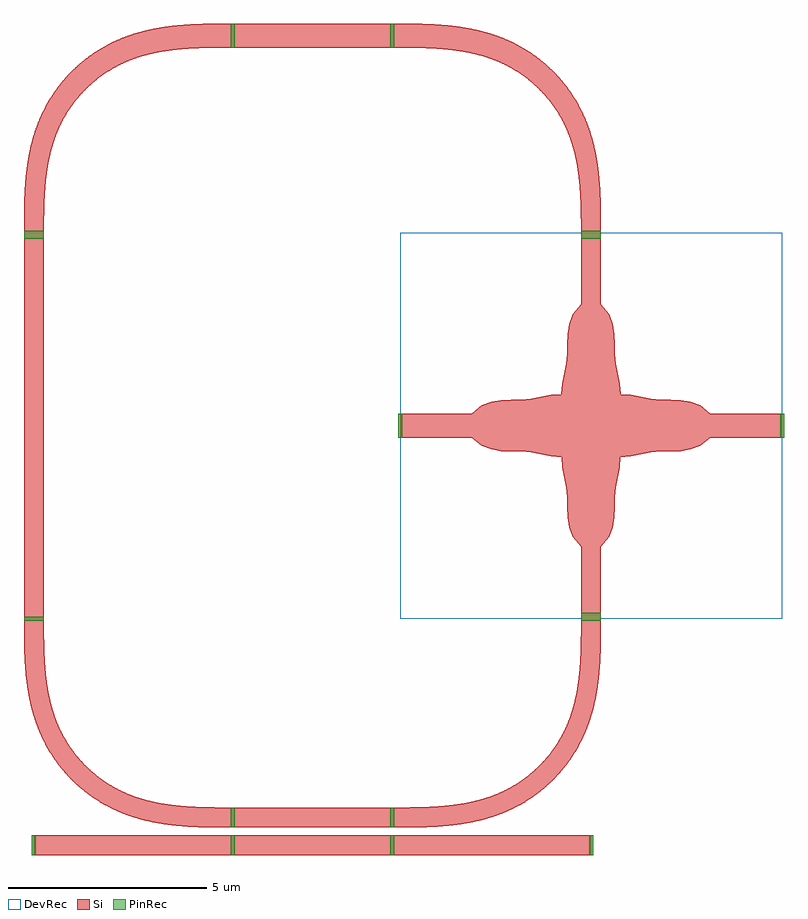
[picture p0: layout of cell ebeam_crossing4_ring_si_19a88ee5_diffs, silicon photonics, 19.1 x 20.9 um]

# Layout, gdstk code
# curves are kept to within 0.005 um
import gdstk
lib = gdstk.Library(unit=1e-6, precision=1e-09)
def R(c, l, rs):  # rectangles x0, y0, x1, y1
    for r in rs: c.add(gdstk.rectangle(r[:2], r[2:], *l))
def P(c, l, *ps):  # polygons
    for p in ps: c.add(gdstk.Polygon(p, *l))
Si = (1, 0)
PinRec = (1, 10)
DevRec = (68, 0)

ebeam_crossing4_ring_si_ = lib.new_cell('ebeam_crossing4_ring_si_19a88ee5_old')
R(ebeam_crossing4_ring_si_, Si, [(-9,-0.25,-4,0.25), (-4,-0.25,0,0.25), (0,-0.25,5,0.25), (-4,0.45,0,0.95), (-9.25,5.7,-8.75,15.4), (-4,20.15,0,20.65)])
P(ebeam_crossing4_ring_si_, Si, [(-4.023,0.45),(-4.587,0.453),(-5.086,0.471),(-5.494,0.505),(-5.926,0.568),(-6.286,0.648),(-6.57,0.732),(-6.826,0.828),(-7.131,0.971),(-5.057,0.971),(-4.578,0.953),(-4,0.95),(-4,0.45)],
  [(-7.145,0.978),(-7.406,1.129),(-7.714,1.347),(-7.888,1.492),(-8.017,1.612),(-8.241,1.85),(-7.538,1.85),(-7.318,1.674),(-7.045,1.494),(-6.755,1.342),(-6.452,1.22),(-6.095,1.115),(-5.77,1.048),(-5.439,1.002),(-5.057,0.971),(-7.131,0.971)],
  [(-8.257,1.869),(-8.429,2.086),(-8.571,2.294),(-8.662,2.445),(-8.801,2.713),(-8.891,2.92),(-8.976,3.154),(-9.046,3.391),(-9.108,3.654),(-8.596,3.654),(-8.527,3.393),(-8.45,3.166),(-8.358,2.945),(-8.206,2.655),(-8.064,2.435),(-7.891,2.21),(-7.73,2.032),(-7.538,1.85),(-8.241,1.85)],
  [(-9.113,3.678),(-9.171,4.014),(-9.205,4.302),(-9.226,4.566),(-9.245,5.018),(-9.25,5.7),(-8.75,5.7),(-8.744,4.984),(-8.719,4.485),(-8.666,4.018),(-8.596,3.654),(-9.108,3.654)],
  [(0.023,0.45),(0.587,0.453),(1.086,0.471),(1.494,0.505),(1.926,0.568),(2.286,0.648),(2.57,0.732),(2.826,0.828),(3.131,0.971),(1.057,0.971),(0.578,0.953),(0,0.95),(0,0.45)],
  [(3.145,0.978),(3.406,1.129),(3.714,1.347),(3.888,1.492),(4.017,1.612),(4.241,1.85),(3.538,1.85),(3.318,1.674),(3.045,1.494),(2.755,1.342),(2.452,1.22),(2.095,1.115),(1.77,1.048),(1.439,1.002),(1.057,0.971),(3.131,0.971)],
  [(4.257,1.869),(4.429,2.086),(4.571,2.294),(4.662,2.445),(4.801,2.713),(4.891,2.92),(4.976,3.154),(5.046,3.391),(5.108,3.654),(4.596,3.654),(4.527,3.393),(4.45,3.166),(4.358,2.945),(4.206,2.655),(4.064,2.435),(3.891,2.21),(3.73,2.032),(3.538,1.85),(4.241,1.85)],
  [(5.113,3.678),(5.171,4.014),(5.205,4.302),(5.226,4.566),(5.245,5.018),(5.25,5.7),(4.75,5.7),(4.744,4.984),(4.719,4.485),(4.666,4.018),(4.596,3.654),(5.108,3.654)],
  [(5.25,15.423),(5.247,15.987),(5.229,16.486),(5.195,16.894),(5.132,17.326),(5.052,17.686),(4.968,17.97),(4.872,18.226),(4.729,18.531),(4.729,16.457),(4.747,15.978),(4.75,15.4),(5.25,15.4)],
  [(4.722,18.545),(4.571,18.806),(4.353,19.114),(4.208,19.288),(4.088,19.417),(3.85,19.641),(3.85,18.938),(4.026,18.718),(4.206,18.445),(4.358,18.155),(4.48,17.852),(4.585,17.495),(4.652,17.17),(4.698,16.839),(4.729,16.457),(4.729,18.531)],
  [(3.831,19.657),(3.614,19.829),(3.406,19.971),(3.255,20.062),(2.987,20.201),(2.78,20.291),(2.546,20.376),(2.309,20.446),(2.046,20.508),(2.046,19.996),(2.307,19.927),(2.534,19.85),(2.755,19.758),(3.045,19.606),(3.265,19.464),(3.49,19.291),(3.668,19.13),(3.85,18.938),(3.85,19.641)],
  [(2.022,20.513),(1.686,20.571),(1.398,20.605),(1.134,20.626),(0.682,20.645),(0,20.65),(0,20.15),(0.716,20.144),(1.215,20.119),(1.682,20.066),(2.046,19.996),(2.046,20.508)],
  [(-4.023,20.65),(-4.587,20.647),(-5.086,20.629),(-5.494,20.595),(-5.926,20.532),(-6.286,20.452),(-6.57,20.368),(-6.826,20.272),(-7.131,20.129),(-5.057,20.129),(-4.578,20.147),(-4,20.15),(-4,20.65)],
  [(-7.145,20.122),(-7.406,19.971),(-7.714,19.753),(-7.888,19.608),(-8.017,19.488),(-8.241,19.25),(-7.538,19.25),(-7.318,19.426),(-7.045,19.606),(-6.755,19.758),(-6.452,19.88),(-6.095,19.985),(-5.77,20.052),(-5.439,20.098),(-5.057,20.129),(-7.131,20.129)],
  [(-8.257,19.231),(-8.429,19.014),(-8.571,18.806),(-8.662,18.655),(-8.801,18.387),(-8.891,18.18),(-8.976,17.946),(-9.046,17.709),(-9.108,17.446),(-8.596,17.446),(-8.527,17.707),(-8.45,17.934),(-8.358,18.155),(-8.206,18.445),(-8.064,18.665),(-7.891,18.89),(-7.73,19.068),(-7.538,19.25),(-8.241,19.25)],
  [(-9.113,17.422),(-9.171,17.086),(-9.205,16.798),(-9.226,16.534),(-9.245,16.082),(-9.25,15.4),(-8.75,15.4),(-8.744,16.116),(-8.719,16.615),(-8.666,17.082),(-8.596,17.446),(-9.108,17.446)],
  [(9.8,10.35),(8,10.35),(7.75,10.14),(7.5,10.05),(7.25,10.01),(6.75,10),(6.5,9.98),(6,9.88),(5.74,9.85),(5.72,9.6),(5.62,9.1),(5.6,8.85),(5.59,8.35),(5.55,8.1),(5.46,7.85),(5.25,7.6),(5.25,5.8),(4.75,5.8),(4.75,7.6),(4.54,7.85),(4.45,8.1),(4.41,8.35),(4.4,8.85),(4.38,9.1),(4.28,9.6),(4.26,9.85),(4,9.88),(3.5,9.98),(3.25,10),(2.75,10.01),(2.5,10.05),(2.25,10.14),(2,10.35),(0.2,10.35),(0.2,10.85),(2,10.85),(2.25,11.06),(2.5,11.15),(2.75,11.19),(3.25,11.2),(3.5,11.22),(4,11.32),(4.25,11.34),(4.28,11.6),(4.38,12.1),(4.4,12.35),(4.41,12.85),(4.45,13.1),(4.54,13.35),(4.75,13.6),(4.75,15.4),(5.25,15.4),(5.25,13.6),(5.46,13.35),(5.55,13.1),(5.59,12.85),(5.6,12.35),(5.62,12.1),(5.72,11.6),(5.75,11.34),(6,11.32),(6.5,11.22),(6.75,11.2),(7.25,11.19),(7.5,11.15),(7.75,11.06),(8,10.85),(9.8,10.85)])
R(ebeam_crossing4_ring_si_, DevRec, [(-9,-0.25,-4,0.25), (-4,-0.25,0,0.25), (0,-0.25,5,0.25), (-4,0.45,0,0.95), (-9.25,5.7,-8.75,15.4), (0.2,5.8,9.8,15.4), (-4,20.15,0,20.65)])
P(ebeam_crossing4_ring_si_, DevRec, [(-4.023,0.45),(-4.587,0.453),(-5.086,0.471),(-5.494,0.505),(-5.926,0.568),(-6.286,0.648),(-6.57,0.732),(-6.826,0.828),(-7.131,0.971),(-5.057,0.971),(-4.578,0.953),(-4,0.95),(-4,0.45)],
  [(-7.145,0.978),(-7.406,1.129),(-7.714,1.347),(-7.888,1.492),(-8.017,1.612),(-8.241,1.85),(-7.538,1.85),(-7.318,1.674),(-7.045,1.494),(-6.755,1.342),(-6.452,1.22),(-6.095,1.115),(-5.77,1.048),(-5.439,1.002),(-5.057,0.971),(-7.131,0.971)],
  [(-8.257,1.869),(-8.429,2.086),(-8.571,2.294),(-8.662,2.445),(-8.801,2.713),(-8.891,2.92),(-8.976,3.154),(-9.046,3.391),(-9.108,3.654),(-8.596,3.654),(-8.527,3.393),(-8.45,3.166),(-8.358,2.945),(-8.206,2.655),(-8.064,2.435),(-7.891,2.21),(-7.73,2.032),(-7.538,1.85),(-8.241,1.85)],
  [(-9.113,3.678),(-9.171,4.014),(-9.205,4.302),(-9.226,4.566),(-9.245,5.018),(-9.25,5.7),(-8.75,5.7),(-8.744,4.984),(-8.719,4.485),(-8.666,4.018),(-8.596,3.654),(-9.108,3.654)],
  [(0.023,0.45),(0.587,0.453),(1.086,0.471),(1.494,0.505),(1.926,0.568),(2.286,0.648),(2.57,0.732),(2.826,0.828),(3.131,0.971),(1.057,0.971),(0.578,0.953),(0,0.95),(0,0.45)],
  [(3.145,0.978),(3.406,1.129),(3.714,1.347),(3.888,1.492),(4.017,1.612),(4.241,1.85),(3.538,1.85),(3.318,1.674),(3.045,1.494),(2.755,1.342),(2.452,1.22),(2.095,1.115),(1.77,1.048),(1.439,1.002),(1.057,0.971),(3.131,0.971)],
  [(4.257,1.869),(4.429,2.086),(4.571,2.294),(4.662,2.445),(4.801,2.713),(4.891,2.92),(4.976,3.154),(5.046,3.391),(5.108,3.654),(4.596,3.654),(4.527,3.393),(4.45,3.166),(4.358,2.945),(4.206,2.655),(4.064,2.435),(3.891,2.21),(3.73,2.032),(3.538,1.85),(4.241,1.85)],
  [(5.113,3.678),(5.171,4.014),(5.205,4.302),(5.226,4.566),(5.245,5.018),(5.25,5.7),(4.75,5.7),(4.744,4.984),(4.719,4.485),(4.666,4.018),(4.596,3.654),(5.108,3.654)],
  [(5.25,15.423),(5.247,15.987),(5.229,16.486),(5.195,16.894),(5.132,17.326),(5.052,17.686),(4.968,17.97),(4.872,18.226),(4.729,18.531),(4.729,16.457),(4.747,15.978),(4.75,15.4),(5.25,15.4)],
  [(4.722,18.545),(4.571,18.806),(4.353,19.114),(4.208,19.288),(4.088,19.417),(3.85,19.641),(3.85,18.938),(4.026,18.718),(4.206,18.445),(4.358,18.155),(4.48,17.852),(4.585,17.495),(4.652,17.17),(4.698,16.839),(4.729,16.457),(4.729,18.531)],
  [(3.831,19.657),(3.614,19.829),(3.406,19.971),(3.255,20.062),(2.987,20.201),(2.78,20.291),(2.546,20.376),(2.309,20.446),(2.046,20.508),(2.046,19.996),(2.307,19.927),(2.534,19.85),(2.755,19.758),(3.045,19.606),(3.265,19.464),(3.49,19.291),(3.668,19.13),(3.85,18.938),(3.85,19.641)],
  [(2.022,20.513),(1.686,20.571),(1.398,20.605),(1.134,20.626),(0.682,20.645),(0,20.65),(0,20.15),(0.716,20.144),(1.215,20.119),(1.682,20.066),(2.046,19.996),(2.046,20.508)],
  [(-4.023,20.65),(-4.587,20.647),(-5.086,20.629),(-5.494,20.595),(-5.926,20.532),(-6.286,20.452),(-6.57,20.368),(-6.826,20.272),(-7.131,20.129),(-5.057,20.129),(-4.578,20.147),(-4,20.15),(-4,20.65)],
  [(-7.145,20.122),(-7.406,19.971),(-7.714,19.753),(-7.888,19.608),(-8.017,19.488),(-8.241,19.25),(-7.538,19.25),(-7.318,19.426),(-7.045,19.606),(-6.755,19.758),(-6.452,19.88),(-6.095,19.985),(-5.77,20.052),(-5.439,20.098),(-5.057,20.129),(-7.131,20.129)],
  [(-8.257,19.231),(-8.429,19.014),(-8.571,18.806),(-8.662,18.655),(-8.801,18.387),(-8.891,18.18),(-8.976,17.946),(-9.046,17.709),(-9.108,17.446),(-8.596,17.446),(-8.527,17.707),(-8.45,17.934),(-8.358,18.155),(-8.206,18.445),(-8.064,18.665),(-7.891,18.89),(-7.73,19.068),(-7.538,19.25),(-8.241,19.25)],
  [(-9.113,17.422),(-9.171,17.086),(-9.205,16.798),(-9.226,16.534),(-9.245,16.082),(-9.25,15.4),(-8.75,15.4),(-8.744,16.116),(-8.719,16.615),(-8.666,17.082),(-8.596,17.446),(-9.108,17.446)])
ebeam_crossing4_ring_si_.add(gdstk.FlexPath([(-4.05,0.7),(-3.95,0.7)], 0.5, ends="flush", simple_path=True, layer=1, datatype=10))  # PinRec
ebeam_crossing4_ring_si_.add(gdstk.FlexPath([(-9,5.65),(-9,5.75)], 0.5, ends="flush", simple_path=True, layer=1, datatype=10))  # PinRec
ebeam_crossing4_ring_si_.add(gdstk.FlexPath([(-4.05,0),(-3.95,0)], 0.5, ends="flush", simple_path=True, layer=1, datatype=10))  # PinRec
ebeam_crossing4_ring_si_.add(gdstk.FlexPath([(-8.95,0),(-9.05,0)], 0.5, ends="flush", simple_path=True, layer=1, datatype=10))  # PinRec
ebeam_crossing4_ring_si_.add(gdstk.FlexPath([(0.05,0.7),(-0.05,0.7)], 0.5, ends="flush", simple_path=True, layer=1, datatype=10))  # PinRec
ebeam_crossing4_ring_si_.add(gdstk.FlexPath([(5,5.65),(5,5.75)], 0.5, ends="flush", simple_path=True, layer=1, datatype=10))  # PinRec
ebeam_crossing4_ring_si_.add(gdstk.FlexPath([(0.05,0),(-0.05,0)], 0.5, ends="flush", simple_path=True, layer=1, datatype=10))  # PinRec
ebeam_crossing4_ring_si_.add(gdstk.FlexPath([(4.95,0),(5.05,0)], 0.5, ends="flush", simple_path=True, layer=1, datatype=10))  # PinRec
ebeam_crossing4_ring_si_.add(gdstk.FlexPath([(-3.95,0.7),(-4.05,0.7)], 0.5, ends="flush", simple_path=True, layer=1, datatype=10))  # PinRec
ebeam_crossing4_ring_si_.add(gdstk.FlexPath([(-0.05,0.7),(0.05,0.7)], 0.5, ends="flush", simple_path=True, layer=1, datatype=10))  # PinRec
ebeam_crossing4_ring_si_.add(gdstk.FlexPath([(-3.95,0),(-4.05,0)], 0.5, ends="flush", simple_path=True, layer=1, datatype=10))  # PinRec
ebeam_crossing4_ring_si_.add(gdstk.FlexPath([(-0.05,0),(0.05,0)], 0.5, ends="flush", simple_path=True, layer=1, datatype=10))  # PinRec
ebeam_crossing4_ring_si_.add(gdstk.FlexPath([(-3.95,20.4),(-4.05,20.4)], 0.5, ends="flush", simple_path=True, layer=1, datatype=10))  # PinRec
ebeam_crossing4_ring_si_.add(gdstk.FlexPath([(-0.05,20.4),(0.05,20.4)], 0.5, ends="flush", simple_path=True, layer=1, datatype=10))  # PinRec
ebeam_crossing4_ring_si_.add(gdstk.FlexPath([(5,15.45),(5,15.35)], 0.5, ends="flush", simple_path=True, layer=1, datatype=10))  # PinRec
ebeam_crossing4_ring_si_.add(gdstk.FlexPath([(0.05,20.4),(-0.05,20.4)], 0.5, ends="flush", simple_path=True, layer=1, datatype=10))  # PinRec
ebeam_crossing4_ring_si_.add(gdstk.FlexPath([(-4.05,20.4),(-3.95,20.4)], 0.5, ends="flush", simple_path=True, layer=1, datatype=10))  # PinRec
ebeam_crossing4_ring_si_.add(gdstk.FlexPath([(-9,15.45),(-9,15.35)], 0.5, ends="flush", simple_path=True, layer=1, datatype=10))  # PinRec
ebeam_crossing4_ring_si_.add(gdstk.FlexPath([(5,5.85),(5,5.75)], 0.5, ends="flush", simple_path=True, layer=1, datatype=10))  # PinRec
ebeam_crossing4_ring_si_.add(gdstk.FlexPath([(5,15.35),(5,15.45)], 0.5, ends="flush", simple_path=True, layer=1, datatype=10))  # PinRec
ebeam_crossing4_ring_si_.add(gdstk.FlexPath([(9.75,10.6),(9.85,10.6)], 0.5, ends="flush", simple_path=True, layer=1, datatype=10))  # PinRec
ebeam_crossing4_ring_si_.add(gdstk.FlexPath([(0.25,10.6),(0.15,10.6)], 0.5, ends="flush", simple_path=True, layer=1, datatype=10))  # PinRec
ebeam_crossing4_ring_si_.add(gdstk.FlexPath([(-9,15.35),(-9,15.45)], 0.5, ends="flush", simple_path=True, layer=1, datatype=10))  # PinRec
ebeam_crossing4_ring_si_.add(gdstk.FlexPath([(-9,5.75),(-9,5.65)], 0.5, ends="flush", simple_path=True, layer=1, datatype=10))  # PinRec
ebeam_crossing4_ring_si_.add(gdstk.Label('o1', (-4,0.7), layer=1, texttype=10))
ebeam_crossing4_ring_si_.add(gdstk.Label('o2', (-9,5.7), layer=1, texttype=10))
ebeam_crossing4_ring_si_.add(gdstk.Label('o1', (-4,0), layer=1, texttype=10))
ebeam_crossing4_ring_si_.add(gdstk.Label('o2', (-9,0), layer=1, texttype=10))
ebeam_crossing4_ring_si_.add(gdstk.Label('o1', (0,0.7), layer=1, texttype=10))
ebeam_crossing4_ring_si_.add(gdstk.Label('o2', (5,5.7), layer=1, texttype=10))
ebeam_crossing4_ring_si_.add(gdstk.Label('o1', (0,0), layer=1, texttype=10))
ebeam_crossing4_ring_si_.add(gdstk.Label('o2', (5,0), layer=1, texttype=10))
ebeam_crossing4_ring_si_.add(gdstk.Label('o1', (-4,0.7), layer=1, texttype=10))
ebeam_crossing4_ring_si_.add(gdstk.Label('o2', (0,0.7), layer=1, texttype=10))
ebeam_crossing4_ring_si_.add(gdstk.Label('o1', (-4,0), layer=1, texttype=10))
ebeam_crossing4_ring_si_.add(gdstk.Label('o2', (0,0), layer=1, texttype=10))
ebeam_crossing4_ring_si_.add(gdstk.Label('o1', (-4,20.4), layer=1, texttype=10))
ebeam_crossing4_ring_si_.add(gdstk.Label('o2', (0,20.4), layer=1, texttype=10))
ebeam_crossing4_ring_si_.add(gdstk.Label('o1', (5,15.4), layer=1, texttype=10))
ebeam_crossing4_ring_si_.add(gdstk.Label('o2', (0,20.4), layer=1, texttype=10))
ebeam_crossing4_ring_si_.add(gdstk.Label('o1', (-4,20.4), layer=1, texttype=10))
ebeam_crossing4_ring_si_.add(gdstk.Label('o2', (-9,15.4), layer=1, texttype=10))
ebeam_crossing4_ring_si_.add(gdstk.Label('Source: Wei Shi', (8,6.6), layer=10, texttype=0))
ebeam_crossing4_ring_si_.add(gdstk.Label('opt4', (5,15.4), layer=1, texttype=10))
ebeam_crossing4_ring_si_.add(gdstk.Label('opt2', (0.2,10.6), layer=1, texttype=10))
ebeam_crossing4_ring_si_.add(gdstk.Label('opt', (5,5.8), layer=1, texttype=10))
ebeam_crossing4_ring_si_.add(gdstk.Label('opt3', (9.8,10.6), layer=1, texttype=10))
ebeam_crossing4_ring_si_.add(gdstk.Label('Component=ebeam_crossing4', (6,6.6), layer=68, texttype=0))
ebeam_crossing4_ring_si_.add(gdstk.Label('Lumerical_INTERCONNECT_library=Design kits/ebeam', (9,6.6), layer=68, texttype=0))
ebeam_crossing4_ring_si_.add(gdstk.Label('o1', (-9,15.4), layer=1, texttype=10))
ebeam_crossing4_ring_si_.add(gdstk.Label('o2', (-9,5.7), layer=1, texttype=10))

c_ebeam_crossing4_ring_si_ = lib.new_cell('ebeam_crossing4_ring_si_19a88ee5_new')
R(c_ebeam_crossing4_ring_si_, Si, [(-9,-0.25,-4,0.25), (-4,-0.25,0,0.25), (0,-0.25,5,0.25), (-4,0.45,0,0.95), (-9.25,5.7,-8.75,15.3), (-4,20.05,0,20.55)])
P(c_ebeam_crossing4_ring_si_, Si, [(-4.023,0.45),(-4.587,0.453),(-5.086,0.471),(-5.494,0.505),(-5.926,0.568),(-6.286,0.648),(-6.57,0.732),(-6.826,0.828),(-7.131,0.971),(-5.057,0.971),(-4.578,0.953),(-4,0.95),(-4,0.45)],
  [(-7.145,0.978),(-7.406,1.129),(-7.714,1.347),(-7.888,1.492),(-8.017,1.612),(-8.241,1.85),(-7.538,1.85),(-7.318,1.674),(-7.045,1.494),(-6.755,1.342),(-6.452,1.22),(-6.095,1.115),(-5.77,1.048),(-5.439,1.002),(-5.057,0.971),(-7.131,0.971)],
  [(-8.257,1.869),(-8.429,2.086),(-8.571,2.294),(-8.662,2.445),(-8.801,2.713),(-8.891,2.92),(-8.976,3.154),(-9.046,3.391),(-9.108,3.654),(-8.596,3.654),(-8.527,3.393),(-8.45,3.166),(-8.358,2.945),(-8.206,2.655),(-8.064,2.435),(-7.891,2.21),(-7.73,2.032),(-7.538,1.85),(-8.241,1.85)],
  [(-9.113,3.678),(-9.171,4.014),(-9.205,4.302),(-9.226,4.566),(-9.245,5.018),(-9.25,5.7),(-8.75,5.7),(-8.744,4.984),(-8.719,4.485),(-8.666,4.018),(-8.596,3.654),(-9.108,3.654)],
  [(0.023,0.45),(0.587,0.453),(1.086,0.471),(1.494,0.505),(1.926,0.568),(2.286,0.648),(2.57,0.732),(2.826,0.828),(3.131,0.971),(1.057,0.971),(0.578,0.953),(0,0.95),(0,0.45)],
  [(3.145,0.978),(3.406,1.129),(3.714,1.347),(3.888,1.492),(4.017,1.612),(4.241,1.85),(3.538,1.85),(3.318,1.674),(3.045,1.494),(2.755,1.342),(2.452,1.22),(2.095,1.115),(1.77,1.048),(1.439,1.002),(1.057,0.971),(3.131,0.971)],
  [(4.257,1.869),(4.429,2.086),(4.571,2.294),(4.662,2.445),(4.801,2.713),(4.891,2.92),(4.976,3.154),(5.046,3.391),(5.108,3.654),(4.596,3.654),(4.527,3.393),(4.45,3.166),(4.358,2.945),(4.206,2.655),(4.064,2.435),(3.891,2.21),(3.73,2.032),(3.538,1.85),(4.241,1.85)],
  [(5.113,3.678),(5.171,4.014),(5.205,4.302),(5.226,4.566),(5.245,5.018),(5.25,5.7),(4.75,5.7),(4.744,4.984),(4.719,4.485),(4.666,4.018),(4.596,3.654),(5.108,3.654)],
  [(5.25,15.323),(5.247,15.887),(5.229,16.386),(5.195,16.794),(5.132,17.226),(5.052,17.586),(4.968,17.87),(4.872,18.126),(4.729,18.431),(4.729,16.357),(4.747,15.878),(4.75,15.3),(5.25,15.3)],
  [(4.722,18.445),(4.571,18.706),(4.353,19.014),(4.208,19.188),(4.088,19.317),(3.85,19.541),(3.85,18.838),(4.026,18.618),(4.206,18.345),(4.358,18.055),(4.48,17.752),(4.585,17.395),(4.652,17.07),(4.698,16.739),(4.729,16.357),(4.729,18.431)],
  [(3.831,19.557),(3.614,19.729),(3.406,19.871),(3.255,19.962),(2.987,20.101),(2.78,20.191),(2.546,20.276),(2.309,20.346),(2.046,20.408),(2.046,19.896),(2.307,19.827),(2.534,19.75),(2.755,19.658),(3.045,19.506),(3.265,19.364),(3.49,19.191),(3.668,19.03),(3.85,18.838),(3.85,19.541)],
  [(2.022,20.413),(1.686,20.471),(1.398,20.505),(1.134,20.526),(0.682,20.545),(0,20.55),(0,20.05),(0.716,20.044),(1.215,20.019),(1.682,19.966),(2.046,19.896),(2.046,20.408)],
  [(-4.023,20.55),(-4.587,20.547),(-5.086,20.529),(-5.494,20.495),(-5.926,20.432),(-6.286,20.352),(-6.57,20.268),(-6.826,20.172),(-7.131,20.029),(-5.057,20.029),(-4.578,20.047),(-4,20.05),(-4,20.55)],
  [(-7.145,20.022),(-7.406,19.871),(-7.714,19.653),(-7.888,19.508),(-8.017,19.388),(-8.241,19.15),(-7.538,19.15),(-7.318,19.326),(-7.045,19.506),(-6.755,19.658),(-6.452,19.78),(-6.095,19.885),(-5.77,19.952),(-5.439,19.998),(-5.057,20.029),(-7.131,20.029)],
  [(-8.257,19.131),(-8.429,18.914),(-8.571,18.706),(-8.662,18.555),(-8.801,18.287),(-8.891,18.08),(-8.976,17.846),(-9.046,17.609),(-9.108,17.346),(-8.596,17.346),(-8.527,17.607),(-8.45,17.834),(-8.358,18.055),(-8.206,18.345),(-8.064,18.565),(-7.891,18.79),(-7.73,18.968),(-7.538,19.15),(-8.241,19.15)],
  [(-9.113,17.322),(-9.171,16.986),(-9.205,16.698),(-9.226,16.434),(-9.245,15.982),(-9.25,15.3),(-8.75,15.3),(-8.744,16.016),(-8.719,16.515),(-8.666,16.982),(-8.596,17.346),(-9.108,17.346)],
  [(9.8,10.25),(8,10.25),(7.75,10.04),(7.5,9.95),(7.25,9.91),(6.75,9.9),(6.5,9.88),(6,9.78),(5.74,9.75),(5.72,9.5),(5.62,9),(5.6,8.75),(5.59,8.25),(5.55,8),(5.46,7.75),(5.25,7.5),(5.25,5.7),(4.75,5.7),(4.75,7.5),(4.54,7.75),(4.45,8),(4.41,8.25),(4.4,8.75),(4.38,9),(4.28,9.5),(4.26,9.75),(4,9.78),(3.5,9.88),(3.25,9.9),(2.75,9.91),(2.5,9.95),(2.25,10.04),(2,10.25),(0.2,10.25),(0.2,10.75),(2,10.75),(2.25,10.96),(2.5,11.05),(2.75,11.09),(3.25,11.1),(3.5,11.12),(4,11.22),(4.25,11.24),(4.28,11.5),(4.38,12),(4.4,12.25),(4.41,12.75),(4.45,13),(4.54,13.25),(4.75,13.5),(4.75,15.3),(5.25,15.3),(5.25,13.5),(5.46,13.25),(5.55,13),(5.59,12.75),(5.6,12.25),(5.62,12),(5.72,11.5),(5.75,11.24),(6,11.22),(6.5,11.12),(6.75,11.1),(7.25,11.09),(7.5,11.05),(7.75,10.96),(8,10.75),(9.8,10.75)])
R(c_ebeam_crossing4_ring_si_, DevRec, [(-9,-0.25,-4,0.25), (-4,-0.25,0,0.25), (0,-0.25,5,0.25), (-4,0.45,0,0.95), (-9.25,5.7,-8.75,15.3), (0.2,5.7,9.8,15.3), (-4,20.05,0,20.55)])
P(c_ebeam_crossing4_ring_si_, DevRec, [(-4.023,0.45),(-4.587,0.453),(-5.086,0.471),(-5.494,0.505),(-5.926,0.568),(-6.286,0.648),(-6.57,0.732),(-6.826,0.828),(-7.131,0.971),(-5.057,0.971),(-4.578,0.953),(-4,0.95),(-4,0.45)],
  [(-7.145,0.978),(-7.406,1.129),(-7.714,1.347),(-7.888,1.492),(-8.017,1.612),(-8.241,1.85),(-7.538,1.85),(-7.318,1.674),(-7.045,1.494),(-6.755,1.342),(-6.452,1.22),(-6.095,1.115),(-5.77,1.048),(-5.439,1.002),(-5.057,0.971),(-7.131,0.971)],
  [(-8.257,1.869),(-8.429,2.086),(-8.571,2.294),(-8.662,2.445),(-8.801,2.713),(-8.891,2.92),(-8.976,3.154),(-9.046,3.391),(-9.108,3.654),(-8.596,3.654),(-8.527,3.393),(-8.45,3.166),(-8.358,2.945),(-8.206,2.655),(-8.064,2.435),(-7.891,2.21),(-7.73,2.032),(-7.538,1.85),(-8.241,1.85)],
  [(-9.113,3.678),(-9.171,4.014),(-9.205,4.302),(-9.226,4.566),(-9.245,5.018),(-9.25,5.7),(-8.75,5.7),(-8.744,4.984),(-8.719,4.485),(-8.666,4.018),(-8.596,3.654),(-9.108,3.654)],
  [(0.023,0.45),(0.587,0.453),(1.086,0.471),(1.494,0.505),(1.926,0.568),(2.286,0.648),(2.57,0.732),(2.826,0.828),(3.131,0.971),(1.057,0.971),(0.578,0.953),(0,0.95),(0,0.45)],
  [(3.145,0.978),(3.406,1.129),(3.714,1.347),(3.888,1.492),(4.017,1.612),(4.241,1.85),(3.538,1.85),(3.318,1.674),(3.045,1.494),(2.755,1.342),(2.452,1.22),(2.095,1.115),(1.77,1.048),(1.439,1.002),(1.057,0.971),(3.131,0.971)],
  [(4.257,1.869),(4.429,2.086),(4.571,2.294),(4.662,2.445),(4.801,2.713),(4.891,2.92),(4.976,3.154),(5.046,3.391),(5.108,3.654),(4.596,3.654),(4.527,3.393),(4.45,3.166),(4.358,2.945),(4.206,2.655),(4.064,2.435),(3.891,2.21),(3.73,2.032),(3.538,1.85),(4.241,1.85)],
  [(5.113,3.678),(5.171,4.014),(5.205,4.302),(5.226,4.566),(5.245,5.018),(5.25,5.7),(4.75,5.7),(4.744,4.984),(4.719,4.485),(4.666,4.018),(4.596,3.654),(5.108,3.654)],
  [(5.25,15.323),(5.247,15.887),(5.229,16.386),(5.195,16.794),(5.132,17.226),(5.052,17.586),(4.968,17.87),(4.872,18.126),(4.729,18.431),(4.729,16.357),(4.747,15.878),(4.75,15.3),(5.25,15.3)],
  [(4.722,18.445),(4.571,18.706),(4.353,19.014),(4.208,19.188),(4.088,19.317),(3.85,19.541),(3.85,18.838),(4.026,18.618),(4.206,18.345),(4.358,18.055),(4.48,17.752),(4.585,17.395),(4.652,17.07),(4.698,16.739),(4.729,16.357),(4.729,18.431)],
  [(3.831,19.557),(3.614,19.729),(3.406,19.871),(3.255,19.962),(2.987,20.101),(2.78,20.191),(2.546,20.276),(2.309,20.346),(2.046,20.408),(2.046,19.896),(2.307,19.827),(2.534,19.75),(2.755,19.658),(3.045,19.506),(3.265,19.364),(3.49,19.191),(3.668,19.03),(3.85,18.838),(3.85,19.541)],
  [(2.022,20.413),(1.686,20.471),(1.398,20.505),(1.134,20.526),(0.682,20.545),(0,20.55),(0,20.05),(0.716,20.044),(1.215,20.019),(1.682,19.966),(2.046,19.896),(2.046,20.408)],
  [(-4.023,20.55),(-4.587,20.547),(-5.086,20.529),(-5.494,20.495),(-5.926,20.432),(-6.286,20.352),(-6.57,20.268),(-6.826,20.172),(-7.131,20.029),(-5.057,20.029),(-4.578,20.047),(-4,20.05),(-4,20.55)],
  [(-7.145,20.022),(-7.406,19.871),(-7.714,19.653),(-7.888,19.508),(-8.017,19.388),(-8.241,19.15),(-7.538,19.15),(-7.318,19.326),(-7.045,19.506),(-6.755,19.658),(-6.452,19.78),(-6.095,19.885),(-5.77,19.952),(-5.439,19.998),(-5.057,20.029),(-7.131,20.029)],
  [(-8.257,19.131),(-8.429,18.914),(-8.571,18.706),(-8.662,18.555),(-8.801,18.287),(-8.891,18.08),(-8.976,17.846),(-9.046,17.609),(-9.108,17.346),(-8.596,17.346),(-8.527,17.607),(-8.45,17.834),(-8.358,18.055),(-8.206,18.345),(-8.064,18.565),(-7.891,18.79),(-7.73,18.968),(-7.538,19.15),(-8.241,19.15)],
  [(-9.113,17.322),(-9.171,16.986),(-9.205,16.698),(-9.226,16.434),(-9.245,15.982),(-9.25,15.3),(-8.75,15.3),(-8.744,16.016),(-8.719,16.515),(-8.666,16.982),(-8.596,17.346),(-9.108,17.346)])
c_ebeam_crossing4_ring_si_.add(gdstk.FlexPath([(-4.05,0.7),(-3.95,0.7)], 0.5, ends="flush", simple_path=True, layer=1, datatype=10))  # PinRec
c_ebeam_crossing4_ring_si_.add(gdstk.FlexPath([(-9,5.65),(-9,5.75)], 0.5, ends="flush", simple_path=True, layer=1, datatype=10))  # PinRec
c_ebeam_crossing4_ring_si_.add(gdstk.FlexPath([(-4.05,0),(-3.95,0)], 0.5, ends="flush", simple_path=True, layer=1, datatype=10))  # PinRec
c_ebeam_crossing4_ring_si_.add(gdstk.FlexPath([(-8.95,0),(-9.05,0)], 0.5, ends="flush", simple_path=True, layer=1, datatype=10))  # PinRec
c_ebeam_crossing4_ring_si_.add(gdstk.FlexPath([(0.05,0.7),(-0.05,0.7)], 0.5, ends="flush", simple_path=True, layer=1, datatype=10))  # PinRec
c_ebeam_crossing4_ring_si_.add(gdstk.FlexPath([(5,5.65),(5,5.75)], 0.5, ends="flush", simple_path=True, layer=1, datatype=10))  # PinRec
c_ebeam_crossing4_ring_si_.add(gdstk.FlexPath([(0.05,0),(-0.05,0)], 0.5, ends="flush", simple_path=True, layer=1, datatype=10))  # PinRec
c_ebeam_crossing4_ring_si_.add(gdstk.FlexPath([(4.95,0),(5.05,0)], 0.5, ends="flush", simple_path=True, layer=1, datatype=10))  # PinRec
c_ebeam_crossing4_ring_si_.add(gdstk.FlexPath([(-3.95,0.7),(-4.05,0.7)], 0.5, ends="flush", simple_path=True, layer=1, datatype=10))  # PinRec
c_ebeam_crossing4_ring_si_.add(gdstk.FlexPath([(-0.05,0.7),(0.05,0.7)], 0.5, ends="flush", simple_path=True, layer=1, datatype=10))  # PinRec
c_ebeam_crossing4_ring_si_.add(gdstk.FlexPath([(-3.95,0),(-4.05,0)], 0.5, ends="flush", simple_path=True, layer=1, datatype=10))  # PinRec
c_ebeam_crossing4_ring_si_.add(gdstk.FlexPath([(-0.05,0),(0.05,0)], 0.5, ends="flush", simple_path=True, layer=1, datatype=10))  # PinRec
c_ebeam_crossing4_ring_si_.add(gdstk.FlexPath([(-3.95,20.3),(-4.05,20.3)], 0.5, ends="flush", simple_path=True, layer=1, datatype=10))  # PinRec
c_ebeam_crossing4_ring_si_.add(gdstk.FlexPath([(-0.05,20.3),(0.05,20.3)], 0.5, ends="flush", simple_path=True, layer=1, datatype=10))  # PinRec
c_ebeam_crossing4_ring_si_.add(gdstk.FlexPath([(5,15.35),(5,15.25)], 0.5, ends="flush", simple_path=True, layer=1, datatype=10))  # PinRec
c_ebeam_crossing4_ring_si_.add(gdstk.FlexPath([(0.05,20.3),(-0.05,20.3)], 0.5, ends="flush", simple_path=True, layer=1, datatype=10))  # PinRec
c_ebeam_crossing4_ring_si_.add(gdstk.FlexPath([(-4.05,20.3),(-3.95,20.3)], 0.5, ends="flush", simple_path=True, layer=1, datatype=10))  # PinRec
c_ebeam_crossing4_ring_si_.add(gdstk.FlexPath([(-9,15.35),(-9,15.25)], 0.5, ends="flush", simple_path=True, layer=1, datatype=10))  # PinRec
c_ebeam_crossing4_ring_si_.add(gdstk.FlexPath([(5,5.75),(5,5.65)], 0.5, ends="flush", simple_path=True, layer=1, datatype=10))  # PinRec
c_ebeam_crossing4_ring_si_.add(gdstk.FlexPath([(5,15.25),(5,15.35)], 0.5, ends="flush", simple_path=True, layer=1, datatype=10))  # PinRec
c_ebeam_crossing4_ring_si_.add(gdstk.FlexPath([(9.75,10.5),(9.85,10.5)], 0.5, ends="flush", simple_path=True, layer=1, datatype=10))  # PinRec
c_ebeam_crossing4_ring_si_.add(gdstk.FlexPath([(0.25,10.5),(0.15,10.5)], 0.5, ends="flush", simple_path=True, layer=1, datatype=10))  # PinRec
c_ebeam_crossing4_ring_si_.add(gdstk.FlexPath([(-9,15.25),(-9,15.35)], 0.5, ends="flush", simple_path=True, layer=1, datatype=10))  # PinRec
c_ebeam_crossing4_ring_si_.add(gdstk.FlexPath([(-9,5.75),(-9,5.65)], 0.5, ends="flush", simple_path=True, layer=1, datatype=10))  # PinRec
c_ebeam_crossing4_ring_si_.add(gdstk.Label('o1', (-4,0.7), layer=1, texttype=10))
c_ebeam_crossing4_ring_si_.add(gdstk.Label('o2', (-9,5.7), layer=1, texttype=10))
c_ebeam_crossing4_ring_si_.add(gdstk.Label('o1', (-4,0), layer=1, texttype=10))
c_ebeam_crossing4_ring_si_.add(gdstk.Label('o2', (-9,0), layer=1, texttype=10))
c_ebeam_crossing4_ring_si_.add(gdstk.Label('o1', (0,0.7), layer=1, texttype=10))
c_ebeam_crossing4_ring_si_.add(gdstk.Label('o2', (5,5.7), layer=1, texttype=10))
c_ebeam_crossing4_ring_si_.add(gdstk.Label('o1', (0,0), layer=1, texttype=10))
c_ebeam_crossing4_ring_si_.add(gdstk.Label('o2', (5,0), layer=1, texttype=10))
c_ebeam_crossing4_ring_si_.add(gdstk.Label('o1', (-4,0.7), layer=1, texttype=10))
c_ebeam_crossing4_ring_si_.add(gdstk.Label('o2', (0,0.7), layer=1, texttype=10))
c_ebeam_crossing4_ring_si_.add(gdstk.Label('o1', (-4,0), layer=1, texttype=10))
c_ebeam_crossing4_ring_si_.add(gdstk.Label('o2', (0,0), layer=1, texttype=10))
c_ebeam_crossing4_ring_si_.add(gdstk.Label('o1', (-4,20.3), layer=1, texttype=10))
c_ebeam_crossing4_ring_si_.add(gdstk.Label('o2', (0,20.3), layer=1, texttype=10))
c_ebeam_crossing4_ring_si_.add(gdstk.Label('o1', (5,15.3), layer=1, texttype=10))
c_ebeam_crossing4_ring_si_.add(gdstk.Label('o2', (0,20.3), layer=1, texttype=10))
c_ebeam_crossing4_ring_si_.add(gdstk.Label('o1', (-4,20.3), layer=1, texttype=10))
c_ebeam_crossing4_ring_si_.add(gdstk.Label('o2', (-9,15.3), layer=1, texttype=10))
c_ebeam_crossing4_ring_si_.add(gdstk.Label('Source: Wei Shi', (8,6.5), layer=10, texttype=0))
c_ebeam_crossing4_ring_si_.add(gdstk.Label('opt4', (5,15.3), layer=1, texttype=10))
c_ebeam_crossing4_ring_si_.add(gdstk.Label('opt2', (0.2,10.5), layer=1, texttype=10))
c_ebeam_crossing4_ring_si_.add(gdstk.Label('opt', (5,5.7), layer=1, texttype=10))
c_ebeam_crossing4_ring_si_.add(gdstk.Label('opt3', (9.8,10.5), layer=1, texttype=10))
c_ebeam_crossing4_ring_si_.add(gdstk.Label('Component=ebeam_crossing4', (6,6.5), layer=68, texttype=0))
c_ebeam_crossing4_ring_si_.add(gdstk.Label('Lumerical_INTERCONNECT_library=Design kits/ebeam', (9,6.5), layer=68, texttype=0))
c_ebeam_crossing4_ring_si_.add(gdstk.Label('o1', (-9,15.3), layer=1, texttype=10))
c_ebeam_crossing4_ring_si_.add(gdstk.Label('o2', (-9,5.7), layer=1, texttype=10))

c_ebeam_crossing4_ring_si__ = lib.new_cell('ebeam_crossing4_ring_si_19a88ee5_diffs')
c_ebeam_crossing4_ring_si__.add(gdstk.Reference(ebeam_crossing4_ring_si_, (0,0)))
c_ebeam_crossing4_ring_si__.add(gdstk.Reference(c_ebeam_crossing4_ring_si_, (0,0)))

lib.write_gds('ebeam_crossing4_ring_si_19a88ee5_diffs.gds')
